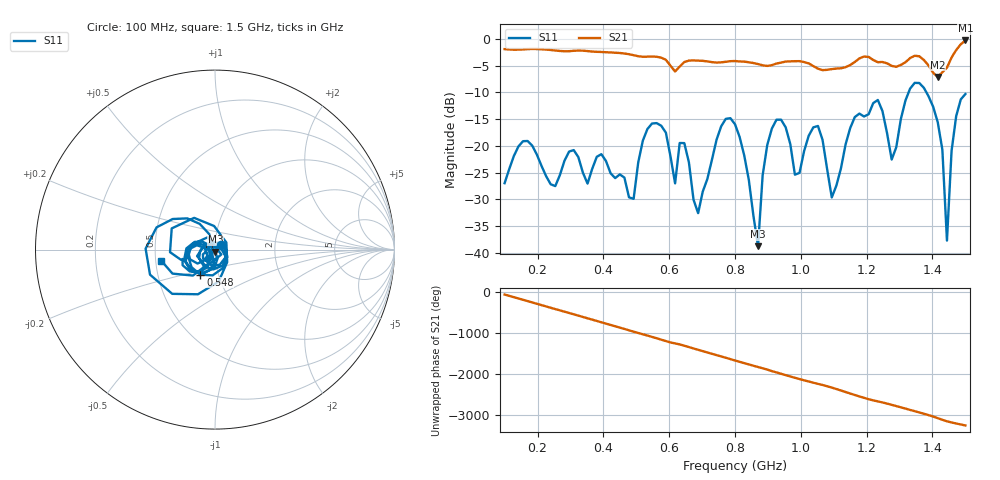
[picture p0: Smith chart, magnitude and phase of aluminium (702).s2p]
! NanoVNA-App
! Date: 2025-09-25 15:00:44
! Start: 100MHz Stop: 1,5GHz Points: 101
! S-Parameter data: F S11 S21 S12 S22
# Hz S RI R 50
!  Frequency  S11_Real  S11_Imag  S21_Real  S21_Imag  S12_Real  S12_Imag  S22_Real  S22_Imag
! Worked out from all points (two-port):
!   101 points, 100 MHz to 1.5 GHz, reference 50 ohm
!   highest |S21| = -0.30 dB at 1.5 GHz (marker M1); lowest = -7.1 dB at 1.416 GHz (marker M2)
!   |S21| within 3 dB of the highest: start of sweep to 513.8 MHz; 1.46 GHz to end of sweep (the widest 2 of 3)
!   lowest |S11| = -38.7 dB at 870 MHz (marker M3), VSWR 1.02, Z = 50.2 - j1.15 ohm
!   |S11| at or under -10 dB: start of sweep to 1.328 GHz; 1.382 GHz to end of sweep
!   S12 and S22 are empty: the file has one direction only
!   S11 on the Smith chart (normalised r, x): 100 MHz: 1.07, +0.06; 548 MHz: 0.82, -0.24; 1.5 GHz: 0.54, -0.07
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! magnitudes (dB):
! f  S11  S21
! 100 MHz  -27.0  -1.9
! 156 MHz  -19.1  -2.0
! 338 MHz  -25.0  -2.2
! 492 MHz  -29.9  -3.1
! 548 MHz  -15.8  -3.3
! 576 MHz  -16.2  -3.5
! 618 MHz  -27.0  -6.1
! 646 MHz  -19.5  -4.3
! 688 MHz  -32.6  -4.1
! 800 MHz  -15.9  -4.1
! 870 MHz  -38.7  -4.7
! 912 MHz  -16.8  -4.9
! 982 MHz  -25.4  -4.2
! 1.038 GHz  -16.5  -5.1
! 1.094 GHz  -29.6  -5.7
! 1.234 GHz  -11.4  -4.4
! 1.276 GHz  -22.5  -5.0
! 1.346 GHz  -8.2  -3.2
! 1.416 GHz  -15.6  -7.1
! 1.444 GHz  -37.7  -5.4
! 1.458 GHz  -20.9  -3.5
! 1.5 GHz  -10.3  -0.3
